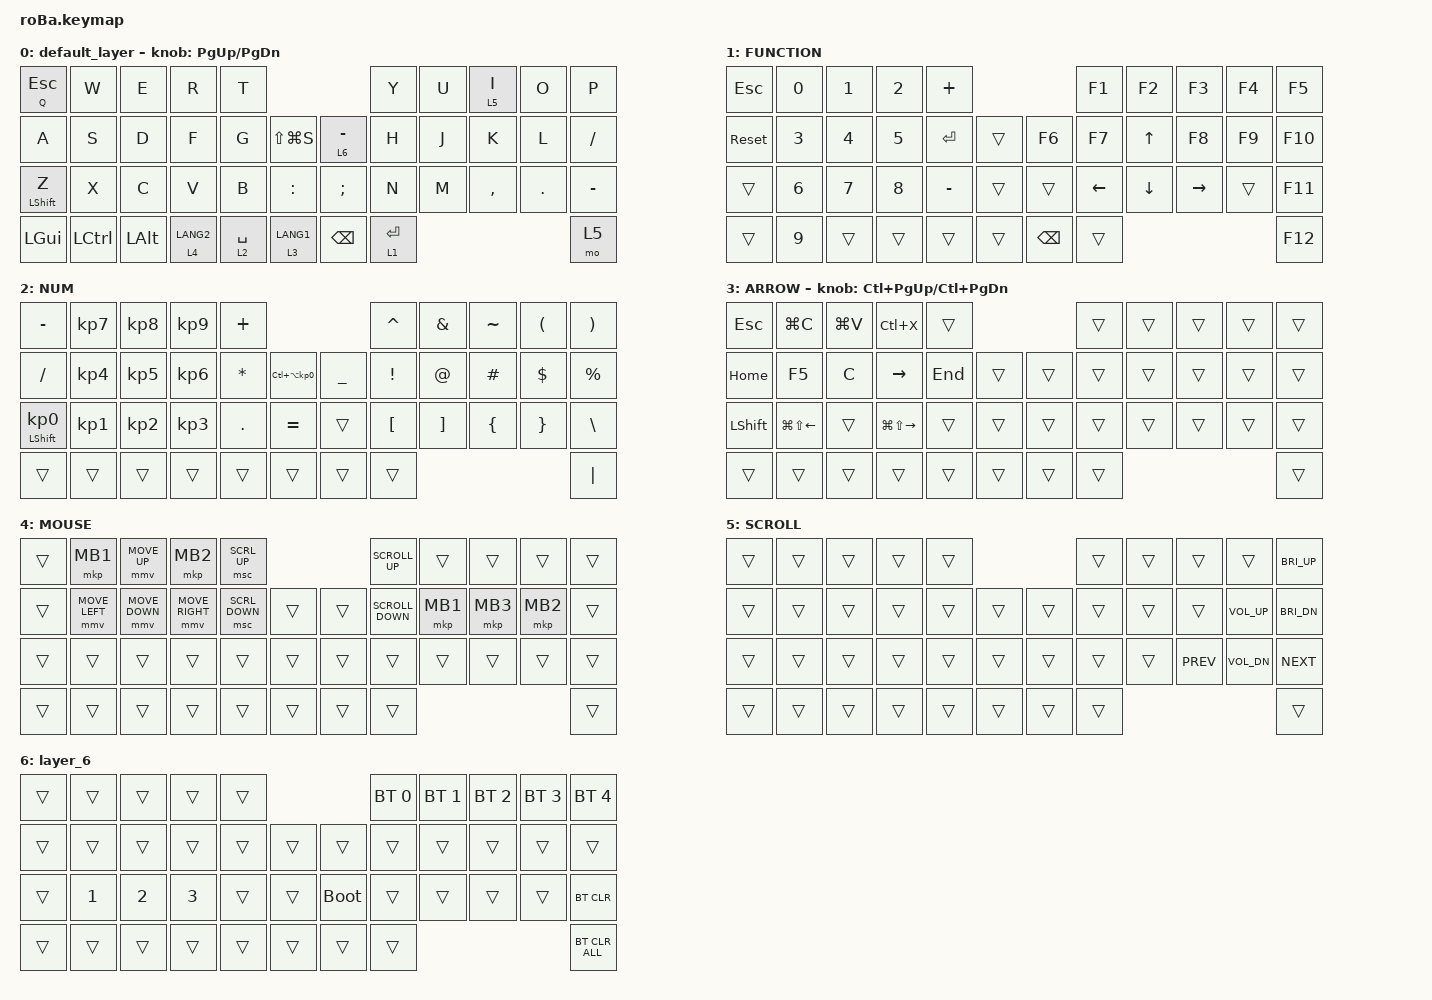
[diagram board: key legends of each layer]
#include <behaviors.dtsi>
#include <dt-bindings/zmk/bt.h>
#include <dt-bindings/zmk/keys.h>
#include <dt-bindings/zmk/pointing.h>

&mt {
    flavor = "balanced";
    quick-tap-ms = <0>;
};

&trackball {
    automouse-layer = <4>;
    scroll-layers = <5>;

    // arrows {
    //     layers = <3>;
    //     bindings =
    //         <&kp RIGHT_ARROW>,
    //         <&kp LEFT_ARROW>,
    //         <&kp UP_ARROW>,
    //         <&kp DOWN_ARROW>;
    //     tick = <10>;
    //     wait-ms = <5>;
    //     tap-ms = <5>;
    // };
};

/ {
    combos {
        compatible = "zmk,combos";

        tab {
            bindings = <&kp TAB>;
            key-positions = <11 12>;
        };

        shift_tab {
            bindings = <&kp LS(TAB)>;
            key-positions = <12 13>;
        };

        muhennkann {
            bindings = <&to_layer_0 INT_MUHENKAN>;
            key-positions = <11 10>;
        };

        double_quotation {
            bindings = <&kp DOUBLE_QUOTES>;
            key-positions = <20 21>;
        };

        eq {
            bindings = <&kp EQUAL>;
            key-positions = <24 25>;
        };
    };

    macros {
        to_layer_0: to_layer_0 {
            compatible = "zmk,behavior-macro-one-param";
            #binding-cells = <1>;
            bindings = <&to 0 &macro_param_1to1 &kp MACRO_PLACEHOLDER>;
            label = "TO_LAYER_0";
        };
    };

    behaviors {
        lt_to_layer_0: lt_to_layer_0 {
            compatible = "zmk,behavior-hold-tap";
            label = "LAYER_TAP_TO_0";
            bindings = <&mo>, <&to_layer_0>;

            #binding-cells = <2>;
            tapping-term-ms = <200>;
        };
    };

    keymap {
        compatible = "zmk,keymap";

        default_layer {
            bindings = <
&mt Q ESCAPE      &kp W             &kp E         &kp R                   &kp T                                                   &kp Y        &kp U  &lt 5 I    &kp O    &kp P
&kp A             &kp S             &kp D         &kp F                   &kp G        &kp LS(LG(S))               &lt 6 MINUS    &kp H        &kp J  &kp K      &kp L    &kp SLASH
&mt LEFT_SHIFT Z  &kp X             &kp C         &kp V                   &kp B        &kp COLON                   &kp SEMICOLON  &kp N        &kp M  &kp COMMA  &kp DOT  &kp MINUS
&kp LEFT_GUI      &kp LEFT_CONTROL  &kp LEFT_ALT  &lt_to_layer_0 4 LANG2  &lt 2 SPACE  &lt_to_layer_0 3 LANG1      &kp BACKSPACE  &lt 1 ENTER                             &mo 5
            >;

            sensor-bindings = <&inc_dec_kp PG_UP PAGE_DOWN>;
        };

        FUNCTION {
            bindings = <
&kp ESC     &kp NUMBER_0  &kp NUMBER_1  &kp NUMBER_2  &kp PLUS                              &kp F1    &kp F2    &kp F3     &kp F4  &kp F5
&sys_reset  &kp NUMBER_3  &kp NUMBER_4  &kp NUMBER_5  &kp ENTER  &trans      &kp F6         &kp F7    &kp UP    &kp F8     &kp F9  &kp F10
&trans      &kp NUMBER_6  &kp NUMBER_7  &kp NUMBER_8  &kp MINUS  &trans      &trans         &kp LEFT  &kp DOWN  &kp RIGHT  &trans  &kp F11
&trans      &kp NUMBER_9  &trans        &trans        &trans     &trans      &kp BACKSPACE  &trans                                 &kp F12
            >;
        };

        NUM {
            bindings = <
&kp MINUS                   &kp KP_NUMBER_7  &kp KP_NUMBER_8  &kp KP_NUMBER_9  &kp PLUS                                                   &kp CARET         &kp AMPERSAND      &kp TILDE       &kp LEFT_PARENTHESIS  &kp RIGHT_PARENTHESIS
&kp SLASH                   &kp KP_NUMBER_4  &kp KP_NUMBER_5  &kp KP_NUMBER_6  &kp ASTERISK  &kp LC(LA(KP_NUMBER_0))      &kp UNDERSCORE  &kp EXCLAMATION   &kp AT_SIGN        &kp HASH        &kp DOLLAR            &kp PERCENT
&mt LEFT_SHIFT KP_NUMBER_0  &kp KP_NUMBER_1  &kp KP_NUMBER_2  &kp KP_NUMBER_3  &kp PERIOD    &kp EQUAL                    &trans          &kp LEFT_BRACKET  &kp RIGHT_BRACKET  &kp LEFT_BRACE  &kp RIGHT_BRACE       &kp BACKSLASH
&trans                      &trans           &trans           &trans           &trans        &trans                       &trans          &trans                                                                     &kp PIPE
            >;
        };

        ARROW {
            bindings = <
&kp ESCAPE      &kp LG(C)               &kp LG(V)  &kp LC(X)                &trans                       &trans  &trans  &trans  &trans  &trans
&kp HOME        &kp F5                  &kp C      &kp RIGHT_ARROW          &kp END  &trans      &trans  &trans  &trans  &trans  &trans  &trans
&kp LEFT_SHIFT  &kp LG(LS(LEFT_ARROW))  &trans     &kp LG(LS(RIGHT_ARROW))  &trans   &trans      &trans  &trans  &trans  &trans  &trans  &trans
&trans          &trans                  &trans     &trans                   &trans   &trans      &trans  &trans                          &trans
            >;

            sensor-bindings = <&inc_dec_kp LC(PAGE_UP) LC(PAGE_DOWN)>;
        };

        MOUSE {
            bindings = <
&trans  &mkp MB1        &mmv MOVE_UP    &mkp MB2         &msc SCRL_UP                        &kp K_SCROLL_UP    &trans    &trans    &trans    &trans
&trans  &mmv MOVE_LEFT  &mmv MOVE_DOWN  &mmv MOVE_RIGHT  &msc SCRL_DOWN  &trans      &trans  &kp K_SCROLL_DOWN  &mkp MB1  &mkp MB3  &mkp MB2  &trans
&trans  &trans          &trans          &trans           &trans          &trans      &trans  &trans             &trans    &trans    &trans    &trans
&trans  &trans          &trans          &trans           &trans          &trans      &trans  &trans                                           &trans
            >;
        };

        SCROLL {
            bindings = <
&trans  &trans  &trans  &trans  &trans                      &trans  &trans  &trans      &trans        &kp C_BRI_UP
&trans  &trans  &trans  &trans  &trans  &trans      &trans  &trans  &trans  &trans      &kp C_VOL_UP  &kp C_BRI_DN
&trans  &trans  &trans  &trans  &trans  &trans      &trans  &trans  &trans  &kp K_PREV  &kp C_VOL_DN  &kp C_NEXT
&trans  &trans  &trans  &trans  &trans  &trans      &trans  &trans                                    &trans
            >;
        };

        layer_6 {
            bindings = <
&trans  &trans        &trans        &trans        &trans                           &bt BT_SEL 0  &bt BT_SEL 1  &bt BT_SEL 2  &bt BT_SEL 3  &bt BT_SEL 4
&trans  &trans        &trans        &trans        &trans  &trans      &trans       &trans        &trans        &trans        &trans        &trans
&trans  &kp NUMBER_1  &kp NUMBER_2  &kp NUMBER_3  &trans  &trans      &bootloader  &trans        &trans        &trans        &trans        &bt BT_CLR
&trans  &trans        &trans        &trans        &trans  &trans      &trans       &trans                                                  &bt BT_CLR_ALL
            >;
        };
    };
};
